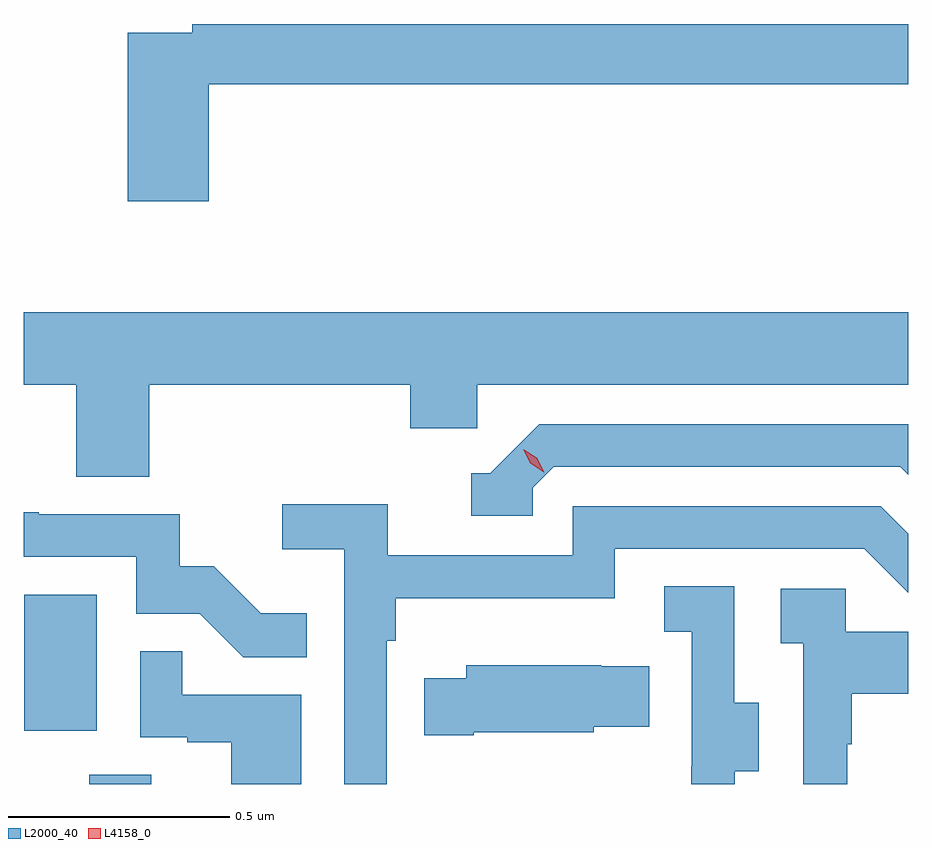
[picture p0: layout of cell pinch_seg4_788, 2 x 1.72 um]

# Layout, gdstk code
import gdstk
lib = gdstk.Library(unit=1e-6, precision=1e-09)
def R(c, l, rs):  # rectangles x0, y0, x1, y1
    for r in rs: c.add(gdstk.rectangle(r[:2], r[2:], *l))
def P(c, l, *ps):  # polygons
    for p in ps: c.add(gdstk.Polygon(p, *l))
L2000_40 = (2000, 40)
L4158_0 = (4158, 0)

pinch_seg4_788 = lib.new_cell('pinch_seg4_788')
R(pinch_seg4_788, L2000_40, [(816.815,814.565,816.955,814.586), (816.668,814.686,816.832,814.993)])
P(pinch_seg4_788, L2000_40, [(817.085,816.148),(818.667,816.148),(818.667,816.284),(817.048,816.284),(817.048,816.264),(816.902,816.264),(816.902,815.883),(817.085,815.883)],
  [(816.95,815.468),(817.541,815.468),(817.541,815.37),(817.692,815.37),(817.692,815.468),(818.667,815.468),(818.667,815.632),(816.667,815.632),(816.667,815.468),(816.785,815.468),(816.785,815.26),(816.95,815.26)],
  [(817.818,815.235),(817.866,815.283),(818.649,815.283),(818.667,815.265),(818.667,815.379),(817.833,815.379),(817.722,815.268),(817.679,815.268),(817.679,815.172),(817.818,815.172)],
  [(817.488,814.889),(817.508,814.889),(817.508,814.985),(818.004,814.985),(818.004,815.097),(818.568,815.097),(818.667,814.998),(818.667,815.131),(818.605,815.193),(817.908,815.193),(817.908,815.082),(817.49,815.082),(817.49,815.198),(817.251,815.198),(817.251,815.096),(817.392,815.096),(817.392,814.565),(817.488,814.565)],
  [(817.307,814.951),(817.203,814.951),(817.096,815.058),(817.02,815.058),(817.02,815.175),(816.701,815.175),(816.701,815.18),(816.667,815.18),(816.667,815.079),(816.921,815.079),(816.921,814.95),(817.065,814.95),(817.163,814.852),(817.307,814.852)],
  [(818.275,814.594),(818.329,814.594),(818.329,814.749),(818.274,814.749),(818.274,815.012),(818.115,815.012),(818.115,814.909),(818.178,814.909),(818.178,814.605),(818.177,814.605),(818.177,814.565),(818.275,814.565)],
  [(818.529,814.655),(818.539,814.655),(818.539,814.769),(818.667,814.769),(818.667,814.909),(818.526,814.909),(818.526,815.007),(818.379,815.007),(818.379,814.883),(818.43,814.883),(818.43,814.565),(818.529,814.565)],
  [(817.294,814.767),(817.025,814.767),(817.025,814.865),(816.93,814.865),(816.93,814.671),(817.037,814.671),(817.037,814.659),(817.136,814.659),(817.136,814.565),(817.294,814.565)],
  [(817.684,814.682),(817.956,814.682),(817.956,814.694),(818.081,814.694),(818.081,814.831),(817.973,814.831),(817.973,814.834),(817.667,814.834),(817.667,814.804),(817.573,814.804),(817.573,814.675),(817.684,814.675)])
P(pinch_seg4_788, L4158_0, [(817.843,815.27),(817.812,815.29),(817.796,815.322),(817.796,815.322),(817.796,815.322),(817.827,815.303),(817.844,815.27),(817.844,815.27)])

lib.write_gds('pinch_seg4_788.gds')
